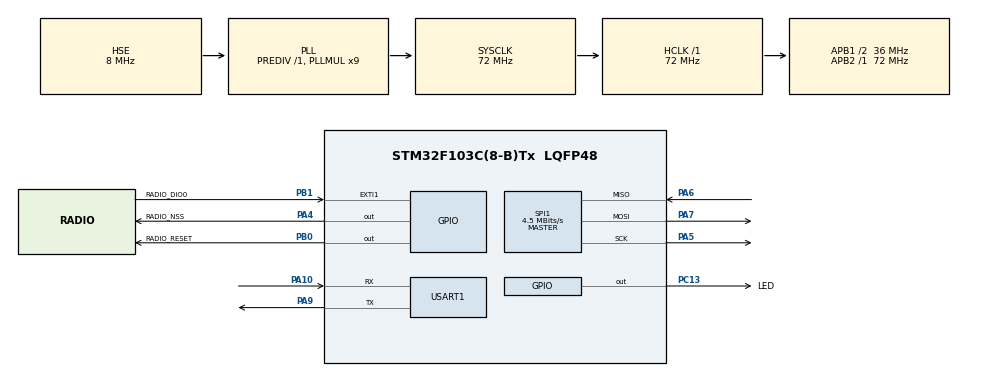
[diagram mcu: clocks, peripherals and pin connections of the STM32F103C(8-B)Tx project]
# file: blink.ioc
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Mcu.Family=STM32F1
Mcu.Name=STM32F103C(8-B)Tx
Mcu.Package=LQFP48
NVIC.EXTI1_IRQn=true\:0\:0\:false\:false\:true\:true\:true\:true
NVIC.PriorityGroup=NVIC_PRIORITYGROUP_4
PA10.Mode=Asynchronous
PA10.Signal=USART1_RX
PA13.Mode=Serial_Wire
PA13.Signal=SYS_JTMS-SWDIO
PA14.Mode=Serial_Wire
PA14.Signal=SYS_JTCK-SWCLK
PA4.GPIO_Label=RADIO_NSS
PA4.PinState=GPIO_PIN_SET
PA4.Signal=GPIO_Output
PA5.Mode=Full_Duplex_Master
PA5.Signal=SPI1_SCK
PA6.Mode=Full_Duplex_Master
PA6.Signal=SPI1_MISO
PA7.Mode=Full_Duplex_Master
PA7.Signal=SPI1_MOSI
PA9.Mode=Asynchronous
PA9.Signal=USART1_TX
PB0.GPIO_Label=RADIO_RESET
PB0.PinState=GPIO_PIN_SET
PB0.Signal=GPIO_Output
PB1.GPIO_Label=RADIO_DIO0
PB1.GPIO_PuPd=GPIO_PULLDOWN
PB1.Signal=GPXTI1
PC13-TAMPER-RTC.GPIO_Label=LED
PC13-TAMPER-RTC.Signal=GPIO_Output
PD0-OSC_IN.Mode=HSE-External-Oscillator
PD0-OSC_IN.Signal=RCC_OSC_IN
PD1-OSC_OUT.Mode=HSE-External-Oscillator
PD1-OSC_OUT.Signal=RCC_OSC_OUT
ProjectManager.HeapSize=0x200
ProjectManager.StackSize=0x400
ProjectManager.TargetToolchain=CMake
RCC.AHBFreq_Value=72000000
RCC.APB1CLKDivider=RCC_HCLK_DIV2
RCC.APB1Freq_Value=36000000
RCC.APB1TimFreq_Value=72000000
RCC.APB2Freq_Value=72000000
RCC.APB2TimFreq_Value=72000000
RCC.HCLKFreq_Value=72000000
RCC.PLLMUL=RCC_PLL_MUL9
RCC.PLLSourceVirtual=RCC_PLLSOURCE_HSE
RCC.SYSCLKFreq_VALUE=72000000
RCC.SYSCLKSource=RCC_SYSCLKSOURCE_PLLCLK
RCC.USBFreq_Value=72000000
SPI1.BaudRatePrescaler=SPI_BAUDRATEPRESCALER_16
SPI1.CalculateBaudRate=4.5 MBits/s
SPI1.Direction=SPI_DIRECTION_2LINES
SPI1.Mode=SPI_MODE_MASTER
SPI1.VirtualType=VM_MASTER
USART1.VirtualMode=VM_ASYNC
board=custom

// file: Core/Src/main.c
/* USER CODE BEGIN Header */
/**
  ******************************************************************************
  * @file           : main.c
  * @brief          : Main program body
  ******************************************************************************
  * @attention
  *
  * Copyright (c) 2026 STMicroelectronics.
  * All rights reserved.
  *
  * This software is licensed under terms that can be found in the LICENSE file
  * in the root directory of this software component.
  * If no LICENSE file comes with this software, it is provided AS-IS.
  *
  ******************************************************************************
  */
/* USER CODE END Header */
#include "main.h"

/* USER CODE BEGIN Includes */
#include <stdio.h>
#include <string.h>

#include "sx1276.h"
#include "sx1276_port.h"

/* USER CODE END Includes */

/* USER CODE BEGIN PD */
/* Radio link test. Flash one board with 1 (sends "ping N" every 5 s)
 * and the other with 0 (listens and logs every packet). */
#define RADIO_ROLE_TX      1
/* A ping takes about 40 ms on air (SF7, BW 125 kHz). Every 5 s that is
 * 0.8 % of the time, under the 1 % duty-cycle limit of the 868.0-868.6 MHz
 * sub-band. Every 2 s it would be 2 %, which is not allowed. */
#define PING_PERIOD_MS     5000u
#define TX_TIMEOUT_MS      1000u   /* SF7, 20 bytes takes about 60 ms */
/* The receiver also asks the radio every 100 ms whether a packet came in,
 * so it still works if the DIO0 interrupt line is not connected. */
#define RX_POLL_MS         100u

/* USER CODE END PD */

SPI_HandleTypeDef hspi1;

UART_HandleTypeDef huart1;

/* USER CODE BEGIN PV */
static sx1276_t radio;
static int radio_status = SX1276_ERR_ARGS;
static uint8_t  tx_busy;           /* waiting for TxDone */
static uint32_t tx_started_ms;
#if RADIO_ROLE_TX
static uint32_t last_ping_ms;
static uint32_t ping_counter;
#endif

/* USER CODE END PV */

void SystemClock_Config(void);
static void MX_GPIO_Init(void);
static void MX_SPI1_Init(void);
static void MX_USART1_UART_Init(void);

/* USER CODE BEGIN 0 */
/* Sends a text line to USART1 (PA9, 115200 8N1) for a USB-UART adapter. */
static void log_line(const char *text)
{
  HAL_UART_Transmit(&huart1, (uint8_t *)text, (uint16_t)strlen(text), 100);
}

/* PC13 LED is active low. */
static void led(int on)
{
  HAL_GPIO_WritePin(LED_GPIO_Port, LED_Pin, on ? GPIO_PIN_RESET : GPIO_PIN_SET);
}

static void led_flashes(unsigned count, uint32_t on_ms, uint32_t off_ms)
{
  for (unsigned i = 0; i < count; i++) {
    led(1);
    HAL_Delay(on_ms);
    led(0);
    HAL_Delay(off_ms);
  }
}

/* Radio did not start. The number of flashes tells what was read from
 * RegVersion, so wiring problems can be found without a UART adapter:
 *   2 flashes: 0x00  (no power, MISO stuck low, NSS/SCK not reaching the chip)
 *   3 flashes: 0xFF  (MISO not connected / floating, chip held in reset)
 *   4 flashes: version read but other error (unstable contact, SPI error) */
static void show_radio_error(void)
{
  unsigned flashes = 4;
  if (radio_status == SX1276_ERR_VERSION && radio.version == 0x00) {
    flashes = 2;
  } else if (radio_status == SX1276_ERR_VERSION && radio.version == 0xFF) {
    flashes = 3;
  }
  led_flashes(flashes, 200, 300);
  HAL_Delay(1500);
}

/* Reads one radio event (after DIO0) and logs it. */
static void handle_radio_event(void)
{
  /* static: the stack is only 1 KB (CubeMX default), keep big buffers off it. */
  static char line[128];
  static uint8_t data[255];
  sx1276_event_t ev = SX1276_EVENT_NONE;

  if (sx1276_handle_dio0(&radio, &ev) != SX1276_OK) {
    log_line("DIO0: SPI error\r\n");
    return;
  }

  switch (ev) {
  case SX1276_EVENT_TX_DONE:
    tx_busy = 0;
    HAL_GPIO_TogglePin(LED_GPIO_Port, LED_Pin);
    snprintf(line, sizeof(line), "TX done in %lu ms\r\n",
             (unsigned long)(HAL_GetTick() - tx_started_ms));
    log_line(line);
    break;

  case SX1276_EVENT_RX_DONE: {
    sx1276_rx_info_t info;
    if (sx1276_read_packet(&radio, data, sizeof(data), &info) == SX1276_OK) {
      HAL_GPIO_TogglePin(LED_GPIO_Port, LED_Pin);
      snprintf(line, sizeof(line), "RX %u B, RSSI %d dBm, SNR %d dB: %.*s\r\n",
               (unsigned)info.len, (int)info.rssi_dbm, (int)info.snr_db,
               (int)info.len, (const char *)data);
      log_line(line);
    }
    break;
  }

  case SX1276_EVENT_RX_CRC_ERROR:
    log_line("RX: CRC error, packet dropped\r\n");
    break;

  default:
    break;
  }
}

/* USER CODE END 0 */

int main(void)
{

  /* MCU Configuration--------------------------------------------------------*/

  /* Reset of all peripherals, Initializes the Flash interface and the Systick. */
  HAL_Init();

  /* Configure the system clock */
  SystemClock_Config();

  /* Initialize all configured peripherals */
  MX_GPIO_Init();
  MX_SPI1_Init();
  MX_USART1_UART_Init();
  /* USER CODE BEGIN 2 */
  /* Reset the SX1276, check RegVersion == 0x12 and configure LoRa
   * (868.1 MHz, SF7, 10 dBm). */
  sx1276_config_t radio_cfg = sx1276_default_config();
  radio_status = sx1276_init(&radio, sx1276_port_hal(), &radio_cfg);

  char msg[64];
  snprintf(msg, sizeof(msg), "SX1276 init: status %d, RegVersion 0x%02X\r\n",
           radio_status, (unsigned)radio.version);
  log_line(msg);

  if (radio_status == SX1276_OK) {
    led_flashes(3, 80, 80);        /* radio found */
#if RADIO_ROLE_TX
    log_line("Role: transmitter\r\n");
#else
    log_line("Role: receiver\r\n");
    if (sx1276_start_rx(&radio) != SX1276_OK) {
      log_line("start RX failed\r\n");
    }
#endif
  }

  /* USER CODE END 2 */

  /* Infinite loop */
  while (1)
  {

    /* USER CODE BEGIN 3 */
    if (radio_status != SX1276_OK) {
      show_radio_error();
      continue;
    }

    /* Events from the radio: the interrupt only set a flag. */
    if (sx1276_port_dio0_pending()) {
      handle_radio_event();
    }
#if !RADIO_ROLE_TX
    else {
      static uint32_t last_poll_ms;
      if (HAL_GetTick() - last_poll_ms >= RX_POLL_MS) {
        last_poll_ms = HAL_GetTick();
        handle_radio_event();      /* reads RegIrqFlags; no flag = nothing to do */
      }
    }
#endif

#if RADIO_ROLE_TX
    uint32_t now = HAL_GetTick();
    if (tx_busy && now - tx_started_ms > TX_TIMEOUT_MS) {
      tx_busy = 0;                 /* TxDone was missed: do not get stuck */
      log_line("TX timeout\r\n");
    }
    if (!tx_busy && now - last_ping_ms >= PING_PERIOD_MS) {
      char ping[24];
      int n = snprintf(ping, sizeof(ping), "ping %lu", (unsigned long)ping_counter++);
      if (sx1276_send(&radio, (const uint8_t *)ping, (uint8_t)n) == SX1276_OK) {
        tx_busy = 1;
        tx_started_ms = now;
      } else {
        log_line("send failed\r\n");
      }
      last_ping_ms = now;
    }
#endif
  }
  /* USER CODE END 3 */
}

void SystemClock_Config(void)
{
  RCC_OscInitTypeDef RCC_OscInitStruct = {0};
  RCC_ClkInitTypeDef RCC_ClkInitStruct = {0};

  /** Initializes the RCC Oscillators according to the specified parameters
  * in the RCC_OscInitTypeDef structure.
  */
  RCC_OscInitStruct.OscillatorType = RCC_OSCILLATORTYPE_HSE;
  RCC_OscInitStruct.HSEState = RCC_HSE_ON;
  RCC_OscInitStruct.HSEPredivValue = RCC_HSE_PREDIV_DIV1;
  RCC_OscInitStruct.HSIState = RCC_HSI_ON;
  RCC_OscInitStruct.PLL.PLLState = RCC_PLL_ON;
  RCC_OscInitStruct.PLL.PLLSource = RCC_PLLSOURCE_HSE;
  RCC_OscInitStruct.PLL.PLLMUL = RCC_PLL_MUL9;
  if (HAL_RCC_OscConfig(&RCC_OscInitStruct) != HAL_OK)
  {
    Error_Handler();
  }

  /** Initializes the CPU, AHB and APB buses clocks
  */
  RCC_ClkInitStruct.ClockType = RCC_CLOCKTYPE_HCLK|RCC_CLOCKTYPE_SYSCLK
                              |RCC_CLOCKTYPE_PCLK1|RCC_CLOCKTYPE_PCLK2;
  RCC_ClkInitStruct.SYSCLKSource = RCC_SYSCLKSOURCE_PLLCLK;
  RCC_ClkInitStruct.AHBCLKDivider = RCC_SYSCLK_DIV1;
  RCC_ClkInitStruct.APB1CLKDivider = RCC_HCLK_DIV2;
  RCC_ClkInitStruct.APB2CLKDivider = RCC_HCLK_DIV1;

  if (HAL_RCC_ClockConfig(&RCC_ClkInitStruct, FLASH_LATENCY_2) != HAL_OK)
  {
    Error_Handler();
  }
}

static void MX_SPI1_Init(void)
{

  /* SPI1 parameter configuration*/
  hspi1.Instance = SPI1;
  hspi1.Init.Mode = SPI_MODE_MASTER;
  hspi1.Init.Direction = SPI_DIRECTION_2LINES;
  hspi1.Init.DataSize = SPI_DATASIZE_8BIT;
  hspi1.Init.CLKPolarity = SPI_POLARITY_LOW;
  hspi1.Init.CLKPhase = SPI_PHASE_1EDGE;
  hspi1.Init.NSS = SPI_NSS_SOFT;
  hspi1.Init.BaudRatePrescaler = SPI_BAUDRATEPRESCALER_16;
  hspi1.Init.FirstBit = SPI_FIRSTBIT_MSB;
  hspi1.Init.TIMode = SPI_TIMODE_DISABLE;
  hspi1.Init.CRCCalculation = SPI_CRCCALCULATION_DISABLE;
  hspi1.Init.CRCPolynomial = 10;
  if (HAL_SPI_Init(&hspi1) != HAL_OK)
  {
    Error_Handler();
  }

}

static void MX_USART1_UART_Init(void)
{

  huart1.Instance = USART1;
  huart1.Init.BaudRate = 115200;
  huart1.Init.WordLength = UART_WORDLENGTH_8B;
  huart1.Init.StopBits = UART_STOPBITS_1;
  huart1.Init.Parity = UART_PARITY_NONE;
  huart1.Init.Mode = UART_MODE_TX_RX;
  huart1.Init.HwFlowCtl = UART_HWCONTROL_NONE;
  huart1.Init.OverSampling = UART_OVERSAMPLING_16;
  if (HAL_UART_Init(&huart1) != HAL_OK)
  {
    Error_Handler();
  }

}

static void MX_GPIO_Init(void)
{
  GPIO_InitTypeDef GPIO_InitStruct = {0};

  /* GPIO Ports Clock Enable */
  __HAL_RCC_GPIOC_CLK_ENABLE();
  __HAL_RCC_GPIOD_CLK_ENABLE();
  __HAL_RCC_GPIOA_CLK_ENABLE();
  __HAL_RCC_GPIOB_CLK_ENABLE();

  /*Configure GPIO pin Output Level */
  HAL_GPIO_WritePin(LED_GPIO_Port, LED_Pin, GPIO_PIN_RESET);

  /*Configure GPIO pin Output Level */
  HAL_GPIO_WritePin(RADIO_NSS_GPIO_Port, RADIO_NSS_Pin, GPIO_PIN_SET);

  /*Configure GPIO pin Output Level */
  HAL_GPIO_WritePin(RADIO_RESET_GPIO_Port, RADIO_RESET_Pin, GPIO_PIN_SET);

  /*Configure GPIO pin : LED_Pin */
  GPIO_InitStruct.Pin = LED_Pin;
  GPIO_InitStruct.Mode = GPIO_MODE_OUTPUT_PP;
  GPIO_InitStruct.Pull = GPIO_NOPULL;
  GPIO_InitStruct.Speed = GPIO_SPEED_FREQ_LOW;
  HAL_GPIO_Init(LED_GPIO_Port, &GPIO_InitStruct);

  /*Configure GPIO pin : RADIO_NSS_Pin */
  GPIO_InitStruct.Pin = RADIO_NSS_Pin;
  GPIO_InitStruct.Mode = GPIO_MODE_OUTPUT_PP;
  GPIO_InitStruct.Pull = GPIO_NOPULL;
  GPIO_InitStruct.Speed = GPIO_SPEED_FREQ_LOW;
  HAL_GPIO_Init(RADIO_NSS_GPIO_Port, &GPIO_InitStruct);

  /*Configure GPIO pin : RADIO_RESET_Pin */
  GPIO_InitStruct.Pin = RADIO_RESET_Pin;
  GPIO_InitStruct.Mode = GPIO_MODE_OUTPUT_PP;
  GPIO_InitStruct.Pull = GPIO_NOPULL;
  GPIO_InitStruct.Speed = GPIO_SPEED_FREQ_LOW;
  HAL_GPIO_Init(RADIO_RESET_GPIO_Port, &GPIO_InitStruct);

  /*Configure GPIO pin : RADIO_DIO0_Pin */
  GPIO_InitStruct.Pin = RADIO_DIO0_Pin;
  GPIO_InitStruct.Mode = GPIO_MODE_IT_RISING;
  GPIO_InitStruct.Pull = GPIO_PULLDOWN;
  HAL_GPIO_Init(RADIO_DIO0_GPIO_Port, &GPIO_InitStruct);

  /* EXTI interrupt init*/
  HAL_NVIC_SetPriority(RADIO_DIO0_EXTI_IRQn, 0, 0);
  HAL_NVIC_EnableIRQ(RADIO_DIO0_EXTI_IRQn);

}

/* USER CODE BEGIN 4 */
/* Called by the HAL from EXTI1_IRQHandler when DIO0 (PB1) goes high.
 * Runs in interrupt context: only record the event, no SPI here. */
void HAL_GPIO_EXTI_Callback(uint16_t GPIO_Pin)
{
  if (GPIO_Pin == RADIO_DIO0_Pin) {
    sx1276_port_dio0_isr();
  }
}

/* USER CODE END 4 */

void Error_Handler(void)
{
  __disable_irq();
  while (1)
  {
  }
}
